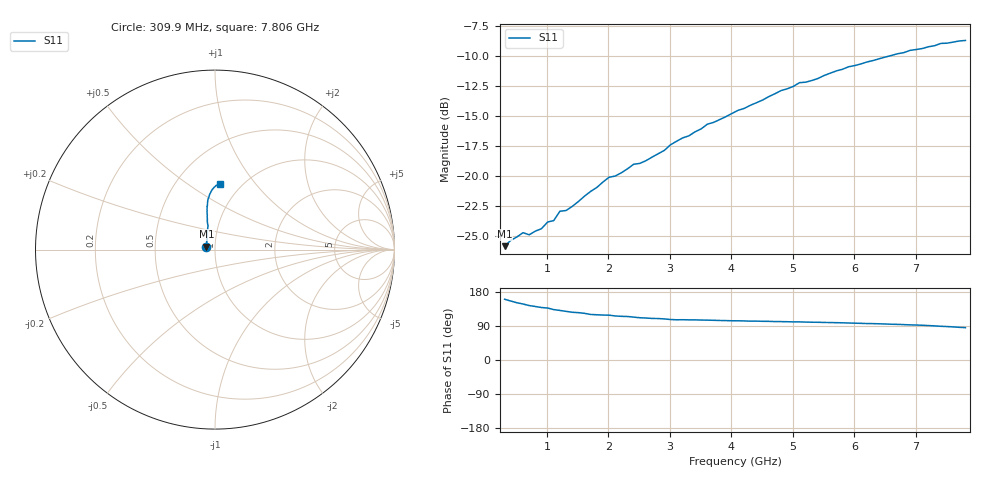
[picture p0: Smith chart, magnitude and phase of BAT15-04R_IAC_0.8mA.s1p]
! Infineon Technologies  Discrete & RF Semiconductors
! BAT15-04R
! IAC = 0.8 mA
! One-Port S-Parameters
# Hz  S  MA  R  50
!f  S11
!Hz  Mag  Ang
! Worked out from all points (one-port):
!   76 points, 309.9 MHz to 7.806 GHz, reference 50 ohm
!   lowest |S11| = -25.8 dB at 309.9 MHz (marker M1), VSWR 1.11, Z = 45.4 + j1.56 ohm
!   |S11| at or under -10 dB: start of sweep to 6.549 GHz
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3.0985e8  0.05101 160.3
4.098e8  0.05393 155.6
6.097e8  0.05807 147.8
7.0965e8  0.0569 143.6
9.0955e8  0.06034 138.5
1.0095e9  0.06432 137.2
1.10945e9  0.06524 133.0
1.2094e9  0.07137 130.8
1.30935e9  0.07184 128.4
2.009e9  0.09889 118.2
2.2089e9  0.1033 115.2
2.4088e9  0.1121 113.2
2.6087e9  0.116 110.8
2.90855e9  0.128 108.4
3.0085e9  0.1351 106.8
3.2084e9  0.1444 106.3
3.30835e9  0.1473 105.9
3.6082e9  0.1647 105.2
4.10795e9  0.1882 103.4
4.8076e9  0.2275 101.3
5.0075e9  0.2369 100.6
5.10745e9  0.2455 100.6
5.30735e9  0.2506 99.7
5.70715e9  0.2749 98.5
6.007e9  0.2893 97.2
6.90655e9  0.3349 92.7
7.4063e9  0.358 89.0
7.8061e9  0.3683 85.4
